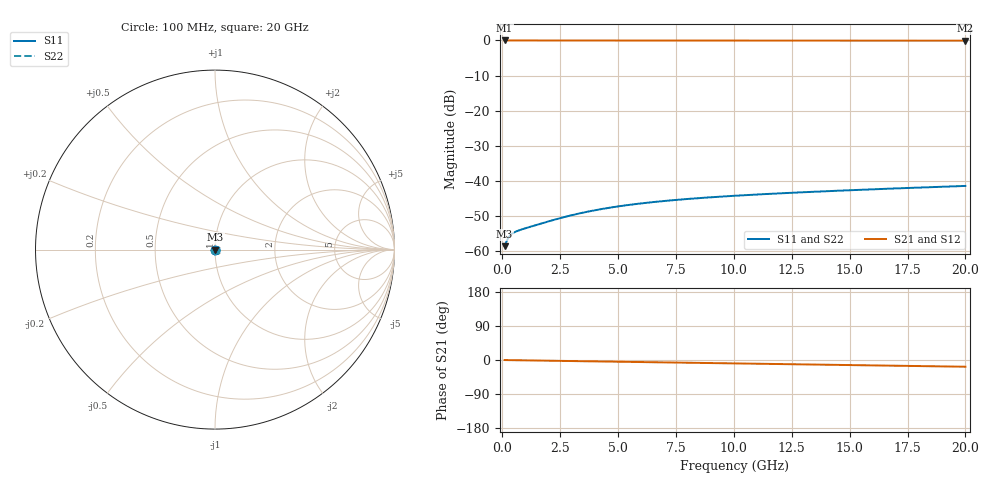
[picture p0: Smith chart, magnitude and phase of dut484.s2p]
! Touchstone file exported from HFSS 2026.1.0
!  File:  C:/ffzhzh/LocalFiles/Ansys_Project_Files/temp_train_TMRDL_484_1783006439_51716.aedt
!  Generated:  11:35:14 PM Jul  2, 2026
!  Design:  TMRDL
!  Project:  temp_train_TMRDL_484_1783006439_51716
! Variables:
!  h_bsmrdl = 2um
!  h_ox = 20um
!  h_rdl = 5um
!  h_sub = 80um
!  h_tmrdl = 4.3um
!  h_tsv = 80um
!  h_via = 3um
!  l_bsmrdl = 300um
!  l_sub = 705.06um
!  l_tmrdl = 305.06um
!  m_sub = 200um
!  pitch = 34.5um
!  r_tsv = 6um
!  s_tmrdl = 10um
!  w_bsmrdl = 18um
!  w_sub = 500um
!  w_tmrdl = 29.5um
!  x_tsv_center1 = 319.81um
!  x_tsv_center2 = 637.81um
!  x_tsv_center3 = 972.37um
!  x_tsv_center4 = 1290.37um
!  x_tsv_center5 = 1624.93um
!  x_tsv_center6 = 1942.93um
# GHz S MA R 50.000000
! Terminal data exported
! Port[1] = TM_RDL1_1_T1
! Port[2] = TM_RDL1_1_T2
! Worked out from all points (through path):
!   200 points, 100 MHz to 20 GHz, reference 50 ohm
!   highest |S21| = -0.01 dB at 100 MHz (marker M1); lowest = -0.1 dB at 20 GHz (marker M2)
!   group delay of S21, straight-line fit = 2.46 ps
!   lowest |S11| = -58.6 dB at 100 MHz (marker M3), VSWR 1.00, Z = 50.1 + j0.0333 ohm
!   |S11| at or under -10 dB: start of sweep to end of sweep
!   |S22| runs from -58.6 to -41.4 dB; largest |S21 - S12| = 3.1e-15
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0.1  0.001175 16.4  0.9989 -0.1  0.9989 -0.1  0.001175 16.4
! Gamma 0 0 0 0
! Port Impedance 50 0 50 0
0.2  0.001422 21.9  0.9987 -0.2  0.9987 -0.2  0.001422 21.9
0.3  0.001614 22.5  0.9985 -0.3  0.9985 -0.3  0.001614 22.5
0.4  0.001745 22.2  0.9984 -0.4  0.9984 -0.4  0.001745 22.2
0.5  0.001836 22.0  0.9983 -0.5  0.9983 -0.5  0.001836 22.0
0.6  0.001906 22.0  0.9982 -0.6  0.9982 -0.6  0.001906 22.0
0.8  0.002017 22.8  0.9981 -0.8  0.9981 -0.8  0.002017 22.8
1  0.002116 24.0  0.9981 -0.9  0.9981 -0.9  0.002116 24.0
2.2  0.002769 30.0  0.9976 -2.0  0.9976 -2.0  0.002769 30.0
2.9  0.003186 30.8  0.9973 -2.7  0.9973 -2.7  0.003186 30.8
3.5  0.003537 30.2  0.997 -3.2  0.997 -3.2  0.003537 30.2
4.2  0.003924 28.7  0.9967 -3.9  0.9967 -3.9  0.003924 28.7
5  0.004329 26.4  0.9963 -4.6  0.9963 -4.6  0.004329 26.4
5.9  0.004737 23.4  0.9958 -5.4  0.9958 -5.4  0.004737 23.4
6.8  0.005099 20.2  0.9954 -6.2  0.9954 -6.2  0.005099 20.2
7.5  0.005354 17.8  0.9951 -6.8  0.9951 -6.8  0.005354 17.8
8.3  0.005621 15.0  0.9948 -7.5  0.9948 -7.5  0.005621 15.0
10.1  0.006154 9.1  0.9941 -9.1  0.9941 -9.1  0.006154 9.1
11.6  0.006549 4.4  0.9936 -10.4  0.9936 -10.4  0.006549 4.4
13.4  0.006987 -0.9  0.9931 -12.0  0.9931 -12.0  0.006987 -0.9
16.7  0.00774 -10.1  0.9922 -14.9  0.9922 -14.9  0.00774 -10.1
20  0.008473 -18.6  0.9914 -17.8  0.9914 -17.8  0.008473 -18.7
